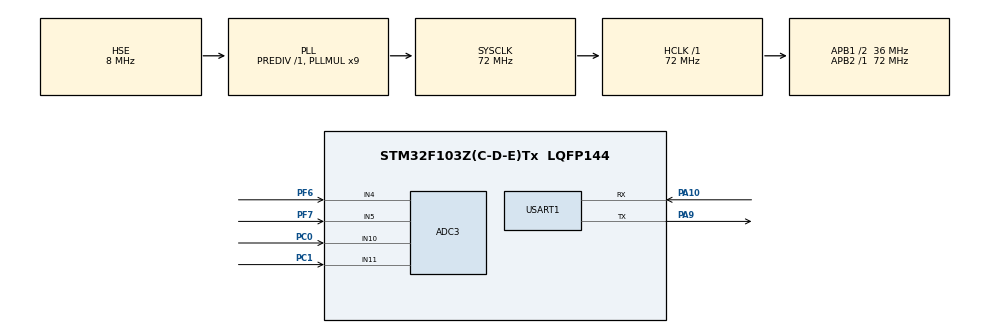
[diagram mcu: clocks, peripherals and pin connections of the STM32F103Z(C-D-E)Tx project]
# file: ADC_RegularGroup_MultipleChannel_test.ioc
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ADC3.Channel-0\#ChannelRegularConversion=ADC_CHANNEL_11
ADC3.Channel-1\#ChannelRegularConversion=ADC_CHANNEL_10
ADC3.Channel-2\#ChannelRegularConversion=ADC_CHANNEL_5
ADC3.Channel-3\#ChannelRegularConversion=ADC_CHANNEL_4
ADC3.ContinuousConvMode=ENABLE
ADC3.NbrOfConversion=4
ADC3.NbrOfConversionFlag=1
ADC3.Rank-0\#ChannelRegularConversion=1
ADC3.Rank-1\#ChannelRegularConversion=2
ADC3.Rank-2\#ChannelRegularConversion=3
ADC3.Rank-3\#ChannelRegularConversion=4
ADC3.SamplingTime-0\#ChannelRegularConversion=ADC_SAMPLETIME_55CYCLES_5
ADC3.SamplingTime-1\#ChannelRegularConversion=ADC_SAMPLETIME_55CYCLES_5
ADC3.SamplingTime-2\#ChannelRegularConversion=ADC_SAMPLETIME_55CYCLES_5
ADC3.SamplingTime-3\#ChannelRegularConversion=ADC_SAMPLETIME_55CYCLES_5
Dma.ADC3.0.Direction=DMA_PERIPH_TO_MEMORY
Dma.ADC3.0.Instance=DMA2_Channel5
Dma.ADC3.0.MemDataAlignment=DMA_MDATAALIGN_HALFWORD
Dma.ADC3.0.MemInc=DMA_MINC_ENABLE
Dma.ADC3.0.Mode=DMA_CIRCULAR
Dma.ADC3.0.PeriphDataAlignment=DMA_PDATAALIGN_HALFWORD
Dma.ADC3.0.PeriphInc=DMA_PINC_DISABLE
Dma.ADC3.0.Priority=DMA_PRIORITY_LOW
Dma.Request0=ADC3
Mcu.Family=STM32F1
Mcu.Name=STM32F103Z(C-D-E)Tx
Mcu.Package=LQFP144
NVIC.DMA2_Channel4_5_IRQn=true\:0\:0\:false\:false\:true\:false\:true\:true
NVIC.PriorityGroup=NVIC_PRIORITYGROUP_4
OSC_IN.Mode=HSE-External-Oscillator
OSC_IN.Signal=RCC_OSC_IN
OSC_OUT.Mode=HSE-External-Oscillator
OSC_OUT.Signal=RCC_OSC_OUT
PA10.Mode=Asynchronous
PA10.Signal=USART1_RX
PA13.Mode=Serial_Wire
PA13.Signal=SYS_JTMS-SWDIO
PA14.Mode=Serial_Wire
PA14.Signal=SYS_JTCK-SWCLK
PA9.Mode=Asynchronous
PA9.Signal=USART1_TX
PC0.Signal=ADCx_IN10
PC1.Signal=ADCx_IN11
PF6.Mode=IN4
PF6.Signal=ADC3_IN4
PF7.Mode=IN5
PF7.Signal=ADC3_IN5
ProjectManager.HeapSize=0x200
ProjectManager.StackSize=0x400
ProjectManager.TargetToolchain=MDK-ARM V5.32
RCC.ADCPresc=RCC_ADCPCLK2_DIV6
RCC.AHBFreq_Value=72000000
RCC.APB1CLKDivider=RCC_HCLK_DIV2
RCC.APB1Freq_Value=36000000
RCC.APB1TimFreq_Value=72000000
RCC.APB2Freq_Value=72000000
RCC.APB2TimFreq_Value=72000000
RCC.HCLKFreq_Value=72000000
RCC.PLLMUL=RCC_PLL_MUL9
RCC.PLLSourceVirtual=RCC_PLLSOURCE_HSE
RCC.SYSCLKFreq_VALUE=72000000
RCC.SYSCLKSource=RCC_SYSCLKSOURCE_PLLCLK
RCC.USBFreq_Value=72000000
SH.ADCx_IN10.0=ADC3_IN10,IN10
SH.ADCx_IN11.0=ADC3_IN11,IN11
USART1.Parity=PARITY_ODD
USART1.VirtualMode=VM_ASYNC
USART1.WordLength=WORDLENGTH_9B
board=custom

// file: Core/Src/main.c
/* USER CODE BEGIN Header */
/**
 ******************************************************************************
 * @file           : main.c
 * @brief          : Main program body
 ******************************************************************************
 * @attention
 *
 * Copyright (c) 2026 STMicroelectronics.
 * All rights reserved.
 *
 * This software is licensed under terms that can be found in the LICENSE file
 * in the root directory of this software component.
 * If no LICENSE file comes with this software, it is provided AS-IS.
 *
 ******************************************************************************
 */
/* USER CODE END Header */
#include "main.h"
#include "adc.h"
#include "dma.h"
#include "usart.h"
#include "gpio.h"

/* USER CODE BEGIN Includes */
#include "BSP_Usart_Redir_V2.h"
/* USER CODE END Includes */

/* USER CODE BEGIN PTD */
#include <stdbool.h>
/* USER CODE END PTD */

/* USER CODE BEGIN PV */
volatile bool g_dma_complete = false;
volatile bool g_dma_half_complete = false;
/* USER CODE END PV */

void SystemClock_Config(void);
/* USER CODE BEGIN PFP */
// static void ADC_Read_MultipleChannel_Block(ADC_HandleTypeDef* hadc, uint32_t* values, uint32_t count);
static float ADC_Code_to_Voltage(uint32_t adc_value);
// static void ADC_Read_MultipleChannel_Test(void);
/* USER CODE END PFP */

int main(void)
{

  /* MCU Configuration--------------------------------------------------------*/

  /* Reset of all peripherals, Initializes the Flash interface and the Systick. */
  HAL_Init();

  /* Configure the system clock */
  SystemClock_Config();

  /* USER CODE BEGIN SysInit */
  BSP_Usart_Init(&huart1);
  /* USER CODE END SysInit */

  /* Initialize all configured peripherals */
  MX_GPIO_Init();
  MX_DMA_Init();
  MX_ADC3_Init();
  MX_USART1_UART_Init();
  /* USER CODE BEGIN 2 */
  // volatile uint16_t values[4] = { 0 };
  volatile uint16_t values[8] = {0};
  const char *channel_name[] =
      {
          "ADC_CHANNEL_11",
          "ADC_CHANNEL_10"
          "ADC_CHANNEL_5",
          "ADC_CHANNEL_4",
  };
  HAL_ADCEx_Calibration_Start(&hadc3);
  HAL_ADC_Start_DMA(&hadc3, (uint32_t *)values, 4);

  /* USER CODE END 2 */

  /* Infinite loop */
  /* USER CODE BEGIN WHILE */
  while (1)
  {
    // DMA循环 ADC连续 Ping-Pong buffer
    if (g_dma_half_complete)
    {
      for (int i = 0; i < 4; i++)
      {
        printf(">>> %s, value : %d, voltage: %.2f\n", channel_name[i], values[i], ADC_Code_to_Voltage(values[i]));
      }
      g_dma_half_complete = false;
    }
    if (g_dma_complete)
    {
      for (int i = 0; i < 4; i++)
      {
        printf(">>> %s, value : %d, voltage: %.2f\n", channel_name[i ], values[i+4], ADC_Code_to_Voltage(values[i+41]));
      }
    }

    // if(g_dma_complete)
    // {
    //   for(int i = 0; i < 4; i++)
    //   {
    //     printf(">>> %s, value : %d, voltage: %.2f\n",channel_name[i], values[i], ADC_Code_to_Voltage(values[i]));
    //   }
    //   g_dma_complete = false;
    //   HAL_ADC_Stop_DMA(&hadc3);
    //   HAL_ADC_Start_DMA(&hadc3, (uint32_t*)values, 4);
    // }
    // HAL_Delay(3000);

    // ADC_Read_MultipleChannel_Test();
    // HAL_Delay(300);
    /* USER CODE END WHILE */

  }
}

void SystemClock_Config(void)
{
  RCC_OscInitTypeDef RCC_OscInitStruct = {0};
  RCC_ClkInitTypeDef RCC_ClkInitStruct = {0};
  RCC_PeriphCLKInitTypeDef PeriphClkInit = {0};

  /** Initializes the RCC Oscillators according to the specified parameters
   * in the RCC_OscInitTypeDef structure.
   */
  RCC_OscInitStruct.OscillatorType = RCC_OSCILLATORTYPE_HSE;
  RCC_OscInitStruct.HSEState = RCC_HSE_ON;
  RCC_OscInitStruct.HSEPredivValue = RCC_HSE_PREDIV_DIV1;
  RCC_OscInitStruct.HSIState = RCC_HSI_ON;
  RCC_OscInitStruct.PLL.PLLState = RCC_PLL_ON;
  RCC_OscInitStruct.PLL.PLLSource = RCC_PLLSOURCE_HSE;
  RCC_OscInitStruct.PLL.PLLMUL = RCC_PLL_MUL9;
  if (HAL_RCC_OscConfig(&RCC_OscInitStruct) != HAL_OK)
  {
    Error_Handler();
  }

  /** Initializes the CPU, AHB and APB buses clocks
   */
  RCC_ClkInitStruct.ClockType = RCC_CLOCKTYPE_HCLK | RCC_CLOCKTYPE_SYSCLK | RCC_CLOCKTYPE_PCLK1 | RCC_CLOCKTYPE_PCLK2;
  RCC_ClkInitStruct.SYSCLKSource = RCC_SYSCLKSOURCE_PLLCLK;
  RCC_ClkInitStruct.AHBCLKDivider = RCC_SYSCLK_DIV1;
  RCC_ClkInitStruct.APB1CLKDivider = RCC_HCLK_DIV2;
  RCC_ClkInitStruct.APB2CLKDivider = RCC_HCLK_DIV1;

  if (HAL_RCC_ClockConfig(&RCC_ClkInitStruct, FLASH_LATENCY_2) != HAL_OK)
  {
    Error_Handler();
  }
  PeriphClkInit.PeriphClockSelection = RCC_PERIPHCLK_ADC;
  PeriphClkInit.AdcClockSelection = RCC_ADCPCLK2_DIV6;
  if (HAL_RCCEx_PeriphCLKConfig(&PeriphClkInit) != HAL_OK)
  {
    Error_Handler();
  }
}

/* USER CODE BEGIN 4 */
// DMA 完成中断
void HAL_ADC_ConvCpltCallback(ADC_HandleTypeDef *hadc)
{
  if (hadc == &hadc3)
  {
    g_dma_complete = true;
  }
}

//DMA 半完成中断
void HAL_ADC_ConvHalfCpltCallback(ADC_HandleTypeDef* hadc)
{
  if(hadc == &hadc3)
  {
    g_dma_half_complete = true;
  }
}

// static void ADC_Read_MultipleChannel_Test(void)
// {
//   uint32_t values[4] = {0};
//   uint32_t num = sizeof(values) / sizeof(values[0]);
//   ADC_Read_MultipleChannel_Block(&hadc3, values, num);
//   const char* channel_name[] =
//   {
//     "ADC_CHANNEL_11",
//     "ADC_CHANNEL_10"
//     "ADC_CHANNEL_5",
//     "ADC_CHANNEL_4",
//   };
//   printf("-----------------\n");
//   for(int i = 0; i < num; i++)
//   {
//     printf(">>> %s, value : %d, voltage: %.2f\n",channel_name[i], values[i], ADC_Code_to_Voltage(values[i]));
//   }
// }

// static void ADC_Read_MultipleChannel_Block(ADC_HandleTypeDef* hadc, uint32_t* values, uint32_t count)
// {
//   if(!hadc || !values || count == 0) Error_Handler();

//   //启动ADC,触发一轮转化
//   if(HAL_ADC_Start(hadc) != HAL_OK) Error_Handler();

//   //
//   for(int i = 0; i < count; i++)
//   {
//     if (HAL_ADC_PollForConversion(hadc, 100) != HAL_OK) Error_Handler();

//     values[i] = HAL_ADC_GetValue(hadc);
//   }

//   HAL_ADC_Stop(hadc);
// }

static float ADC_Code_to_Voltage(uint32_t adc_value)
{
  return (adc_value * 3.3f) / 4096.9f;
}

/* USER CODE END 4 */

void Error_Handler(void)
{
  __disable_irq();
  while (1)
  {
  }
}
